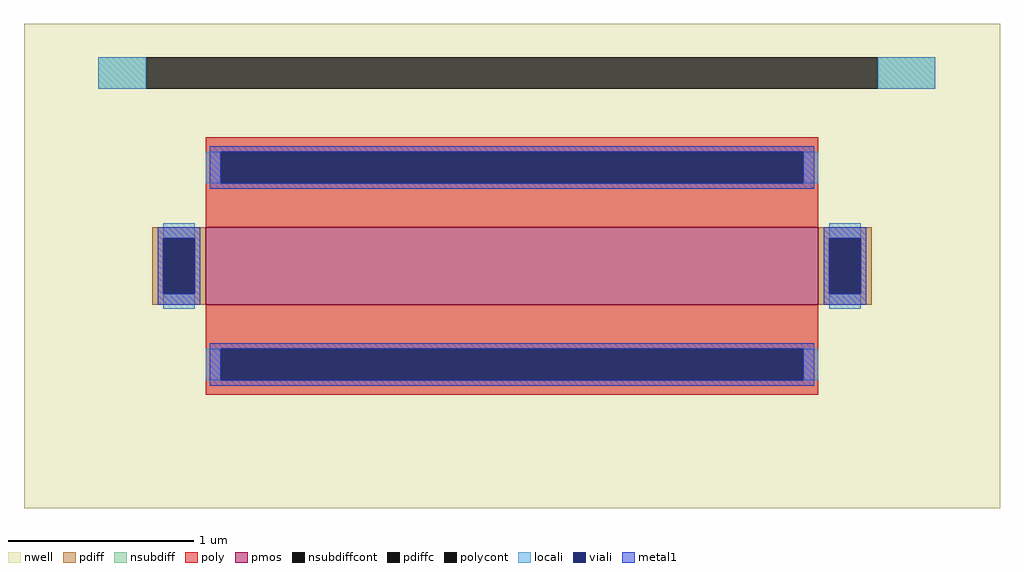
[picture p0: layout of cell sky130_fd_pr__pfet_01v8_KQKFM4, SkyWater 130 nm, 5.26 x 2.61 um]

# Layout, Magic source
magic
tech sky130A
magscale 1 2
<< nwell >>
rect -526 -261 526 261
<< pmos >>
rect -330 -42 330 42
<< pdiff >>
rect -388 30 -330 42
rect -388 -30 -376 30
rect -342 -30 -330 30
rect -388 -42 -330 -30
rect 330 30 388 42
rect 330 -30 342 30
rect 376 -30 388 30
rect 330 -42 388 -30
<< pdiffc >>
rect -376 -30 -342 30
rect 342 -30 376 30
<< nsubdiff >>
rect -446 191 -394 225
rect 394 191 456 225
<< nsubdiffcont >>
rect -394 191 394 225
<< poly >>
rect -330 123 330 139
rect -330 89 -314 123
rect 314 89 330 123
rect -330 42 330 89
rect -330 -89 330 -42
rect -330 -123 -314 -89
rect 314 -123 330 -89
rect -330 -139 330 -123
<< polycont >>
rect -314 89 314 123
rect -314 -123 314 -89
<< locali >>
rect -446 191 -394 225
rect 394 191 456 225
rect -330 89 -314 123
rect 314 89 330 123
rect -376 30 -342 46
rect -376 -46 -342 -30
rect 342 30 376 46
rect 342 -46 376 -30
rect -330 -123 -314 -89
rect 314 -123 330 -89
<< viali >>
rect -314 89 314 123
rect -376 -30 -342 30
rect 342 -30 376 30
rect -314 -123 314 -89
<< metal1 >>
rect -326 123 326 129
rect -326 89 -314 123
rect 314 89 326 123
rect -326 83 326 89
rect -382 30 -336 42
rect -382 -30 -376 30
rect -342 -30 -336 30
rect -382 -42 -336 -30
rect 336 30 382 42
rect 336 -30 342 30
rect 376 -30 382 30
rect 336 -42 382 -30
rect -326 -89 326 -83
rect -326 -123 -314 -89
rect 314 -123 326 -89
rect -326 -129 326 -123
<< properties >>
string FIXED_BBOX -473 -208 473 208
string gencell sky130_fd_pr__pfet_01v8
string library sky130
string parameters w 0.421 l 3.3 m 1 nf 1 diffcov 100 polycov 100 guard 1 glc 1 grc 1 gtc 1 gbc 1 tbcov 100 rlcov 100 topc 1 botc 1 poverlap 0 doverlap 1 lmin 0.15 wmin 0.42 compatible {sky130_fd_pr__pfet_01v8  sky130_fd_pr__pfet_01v8_lvt sky130_fd_pr__pfet_01v8_hvt  sky130_fd_pr__pfet_g5v0d10v5} full_metal 1 viasrc 100 viadrn 100 viagate 100 viagb 0 viagr 0 viagl 0 viagt 0
<< end >>
